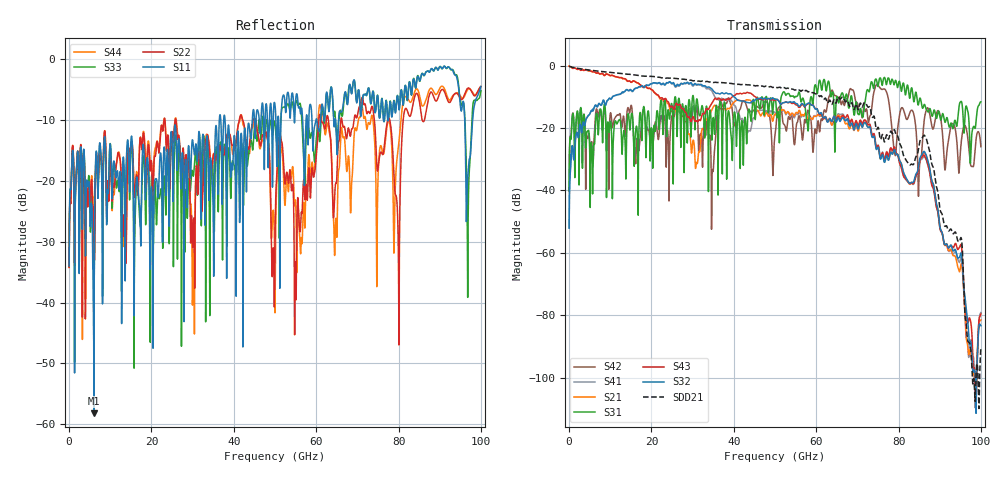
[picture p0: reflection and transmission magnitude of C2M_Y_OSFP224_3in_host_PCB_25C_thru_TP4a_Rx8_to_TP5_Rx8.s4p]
# GHz S RI R 45
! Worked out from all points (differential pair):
!   4000 points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, 25 MHz to 100 GHz, reference 45 ohm
!   strongest paths, dB at 25 MHz, 25.02 GHz, 50.02 GHz, 75.03 GHz, 100 GHz:
!     S32: -52.1, -5.7, -10.8, -26.1, -83.4
!     S43: -0.1, -13.0, -11.1, -25.6, -79.6
!     S31: -40.1, -12.9, -10.6, -6.6, -11.6
!     S21: -0.1, -14.2, -15.5, -25.9, -81.6
!     S41: -52.1, -5.8, -15.0, -25.4, -79.2
!     S42: -40.1, -16.0, -22.2, -6.3, -26.0
!   taken as a pair (ports 3,1 in; 4,2 out), SDD21 dB: -0.1, -4.0, -6.8, -19.7, -90.2
!   lowest |S11| = -58.2 dB at 6.05 GHz (marker M1), VSWR 1.00, Z = 44.9 + j0.0964 ohm
!   |S11| at or under -10 dB: start of sweep to 36.5 GHz; 37.88 GHz to 44.5 GHz (6.618 GHz wide, 16.1 % of centre); 96.08 GHz to 98 GHz (1.926 GHz wide, 1.98 % of centre) (the widest 3 of 21)
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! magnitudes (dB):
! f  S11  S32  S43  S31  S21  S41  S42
! 25 MHz  -34.0  -52.1  -0.1  -40.1  -0.1  -52.1  -40.1
! 6.05 GHz  -58.2  -13.6  -1.9  -24.9  -1.9  -13.6  -24.0
! 31 GHz  -15.3  -6.0  -17.7  -10.7  -31.0  -6.3  -12.8
! 41.05 GHz  -12.0  -11.1  -9.0  -15.3  -11.0  -15.5  -16.2
! 49.55 GHz  -11.3  -10.3  -11.0  -13.7  -17.3  -15.1  -33.9
! 86.3 GHz  -2.7  -27.6  -28.8  -12.4  -28.0  -29.2  -16.9
! 100 GHz  -4.5  -83.4  -79.6  -11.6  -81.6  -79.2  -26.0
